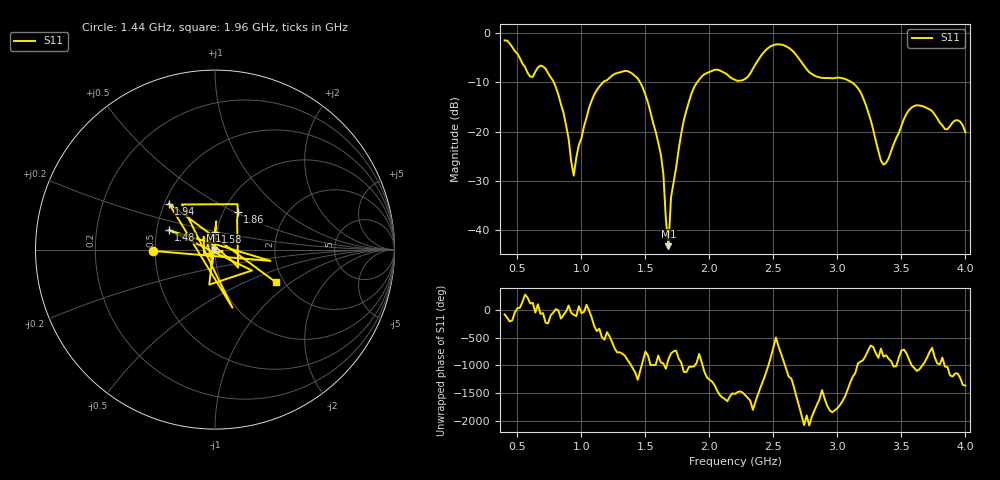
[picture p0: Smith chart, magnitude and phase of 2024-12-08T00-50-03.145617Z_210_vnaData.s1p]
!Created with skrf (http://scikit-rf.org).
# Hz S RI R 50.0
!freq ReS11 ImS11
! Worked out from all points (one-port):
!   181 points, 400 MHz to 4 GHz, reference 50 ohm
!   lowest |S11| = -43.2 dB at 1.68 GHz (marker M1), VSWR 1.01, Z = 49.3 - j0.156 ohm
!   |S11| at or under -10 dB: 784.6 MHz to 1.169 GHz (384.4 MHz wide, 39.4 % of centre); 1.459 GHz to 1.903 GHz (443.8 MHz wide, 26.4 % of centre); 3.113 GHz to end of sweep
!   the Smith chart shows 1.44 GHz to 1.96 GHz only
!   S11 on the Smith chart (normalised r, x): 1.44 GHz: 0.48, -0.01; 1.48 GHz: 0.58, +0.14; 1.58 GHz: 0.98, +0.20; 1.86 GHz: 1.17, +0.52; 1.94 GHz: 0.53, +0.31; 1.96 GHz: 1.81, -0.77
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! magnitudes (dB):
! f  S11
! 400 MHz  -1.5
! 600 MHz  -8.8
! 720 MHz  -7.2
! 860 MHz  -16.1
! 940 MHz  -28.9
! 980 MHz  -22.7
! 1.1 GHz  -12.5
! 1.3 GHz  -8.0
! 1.44 GHz  -9.2
! 1.48 GHz  -11.1
! 1.58 GHz  -20.0
! 1.64 GHz  -28.5
! 1.66 GHz  -37.8
! 1.68 GHz  -43.2
! 1.7 GHz  -33.3
! 1.76 GHz  -23.5
! 1.86 GHz  -12.3
! 1.94 GHz  -8.8
! 1.96 GHz  -8.3
! 2.2 GHz  -9.5
! 2.48 GHz  -2.7
! 2.66 GHz  -3.9
! 2.82 GHz  -8.6
! 3.1 GHz  -9.8
! 3.2 GHz  -13.1
! 3.36 GHz  -26.6
! 3.56 GHz  -15.6
! 4 GHz  -20.1
